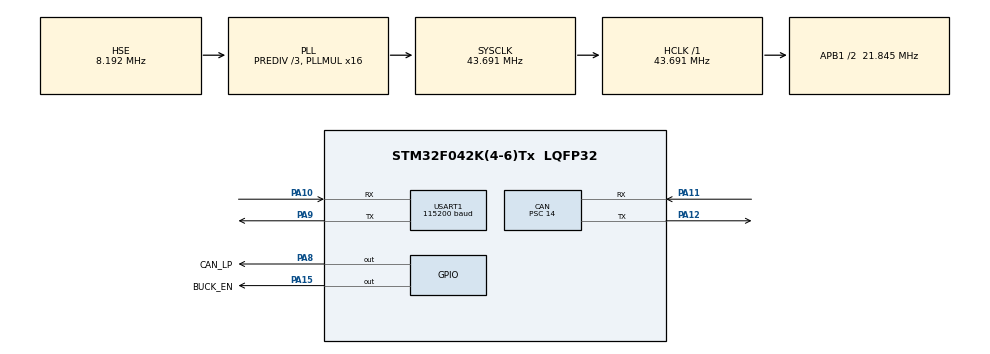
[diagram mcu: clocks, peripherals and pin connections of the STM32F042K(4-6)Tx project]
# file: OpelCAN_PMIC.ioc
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CAN.ABOM=ENABLE
CAN.AWUM=ENABLE
CAN.BS1=CAN_BS1_13TQ
CAN.BS2=CAN_BS2_2TQ
CAN.CalculateBaudRate=97523
CAN.CalculateTimeBit=10253
CAN.CalculateTimeQuantum=640.869140625
CAN.NART=ENABLE
CAN.Prescaler=14
CAN.SJW=CAN_SJW_1TQ
Dma.Request0=USART1_RX
Dma.Request1=USART1_TX
Dma.USART1_RX.0.Direction=DMA_PERIPH_TO_MEMORY
Dma.USART1_RX.0.Instance=DMA1_Channel3
Dma.USART1_RX.0.MemDataAlignment=DMA_MDATAALIGN_BYTE
Dma.USART1_RX.0.MemInc=DMA_MINC_ENABLE
Dma.USART1_RX.0.Mode=DMA_CIRCULAR
Dma.USART1_RX.0.PeriphDataAlignment=DMA_PDATAALIGN_BYTE
Dma.USART1_RX.0.PeriphInc=DMA_PINC_DISABLE
Dma.USART1_RX.0.Priority=DMA_PRIORITY_LOW
Dma.USART1_TX.1.Direction=DMA_MEMORY_TO_PERIPH
Dma.USART1_TX.1.Instance=DMA1_Channel2
Dma.USART1_TX.1.MemDataAlignment=DMA_MDATAALIGN_BYTE
Dma.USART1_TX.1.MemInc=DMA_MINC_ENABLE
Dma.USART1_TX.1.Mode=DMA_NORMAL
Dma.USART1_TX.1.PeriphDataAlignment=DMA_PDATAALIGN_BYTE
Dma.USART1_TX.1.PeriphInc=DMA_PINC_DISABLE
Dma.USART1_TX.1.Priority=DMA_PRIORITY_LOW
Mcu.Family=STM32F0
Mcu.Name=STM32F042K(4-6)Tx
Mcu.Package=LQFP32
NVIC.CEC_CAN_IRQn=true\:0\:0\:false\:false\:true\:false\:true\:true
NVIC.DMA1_Channel2_3_IRQn=true\:0\:0\:false\:false\:true\:false\:true\:true
NVIC.TIM2_IRQn=true\:0\:0\:false\:false\:true\:true\:true\:true
NVIC.USART1_IRQn=true\:0\:0\:false\:false\:true\:true\:true\:true
PA10.Mode=Asynchronous
PA10.Signal=USART1_RX
PA11.Mode=CAN_Activate
PA11.Signal=CAN_RX
PA12.Mode=CAN_Activate
PA12.Signal=CAN_TX
PA13.Mode=Serial_Wire
PA13.Signal=SYS_SWDIO
PA14.Mode=Serial_Wire
PA14.Signal=SYS_SWCLK
PA15.GPIO_Label=BUCK_EN
PA15.Signal=GPIO_Output
PA8.GPIO_Label=CAN_LP
PA8.PinState=GPIO_PIN_SET
PA8.Signal=GPIO_Output
PA9.Mode=Asynchronous
PA9.Signal=USART1_TX
PF0-OSC_IN.Mode=HSE-External-Oscillator
PF0-OSC_IN.Signal=RCC_OSC_IN
PF1-OSC_OUT.Mode=HSE-External-Oscillator
PF1-OSC_OUT.Signal=RCC_OSC_OUT
ProjectManager.HeapSize=0x200
ProjectManager.StackSize=0x400
ProjectManager.TargetToolchain=STM32CubeIDE
RCC.AHBFreq_Value=43690666.666666664
RCC.APB1CLKDivider=RCC_HCLK_DIV2
RCC.APB1Freq_Value=21845333.333333332
RCC.APB1TimFreq_Value=43690666.666666664
RCC.HCLKFreq_Value=43690666.666666664
RCC.HSE_VALUE=8192000
RCC.PLLDivider=RCC_PREDIV_DIV3
RCC.PLLMUL=RCC_PLL_MUL16
RCC.PLLSourceVirtual=RCC_PLLSOURCE_HSE
RCC.SYSCLKFreq_VALUE=43690666.666666664
RCC.SYSCLKSource=RCC_SYSCLKSOURCE_PLLCLK
RCC.Usart1ClockSelection=RCC_USART1CLKSOURCE_HSI
TIM2.AutoReloadPreload=TIM_AUTORELOAD_PRELOAD_ENABLE
TIM2.Period=25
TIM2.Prescaler=4266
USART1.BaudRate=115200
USART1.VirtualMode-Asynchronous=VM_ASYNC
VP_TIM2_VS_ClockSourceINT.Mode=Internal
board=custom

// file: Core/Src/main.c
/* USER CODE BEGIN Header */
/**
 ******************************************************************************
 * @file           : main.c
 * @brief          : Main program body
 ******************************************************************************
 * @attention
 *
 * Copyright (c) 2023 STMicroelectronics.
 * All rights reserved.
 *
 * This software is licensed under terms that can be found in the LICENSE file
 * in the root directory of this software component.
 * If no LICENSE file comes with this software, it is provided AS-IS.
 *
 ******************************************************************************
 */
/* USER CODE END Header */
#include "main.h"

/* USER CODE BEGIN Includes */
#include <stdbool.h>
#include "uart.h"
#include "esp.h"
#include "can_tx.h"
#include "can_rx.h"
/* USER CODE END Includes */

/* USER CODE BEGIN PD */
uint8_t _power_up_message[8] =
		{ 0x61, 0x00, 0x42, 0x12, 0x21, 0x00, 0x40, 0x00 };
uint8_t _power_down_message[8] = { 0x11, 0x00, 0x00, 0x18, 0x00, 0x00, 0x00,
		0x00 };
/* USER CODE END PD */

CAN_HandleTypeDef hcan;

TIM_HandleTypeDef htim2;

UART_HandleTypeDef huart1;
DMA_HandleTypeDef hdma_usart1_rx;
DMA_HandleTypeDef hdma_usart1_tx;

/* USER CODE BEGIN PV */
bool sleeping = false;
/* USER CODE END PV */

void SystemClock_Config(void);
static void MX_GPIO_Init(void);
static void MX_DMA_Init(void);
static void MX_CAN_Init(void);
static void MX_USART1_UART_Init(void);
static void MX_TIM2_Init(void);

int main(void) {

	/* MCU Configuration--------------------------------------------------------*/

	/* Reset of all peripherals, Initializes the Flash interface and the Systick. */
	HAL_Init();

	/* Configure the system clock */
	SystemClock_Config();

	/* Initialize all configured peripherals */
	MX_GPIO_Init();
	MX_DMA_Init();
	MX_CAN_Init();
	MX_USART1_UART_Init();
	MX_TIM2_Init();
	/* USER CODE BEGIN 2 */

	uart_start(&huart1);
	/* USER CODE END 2 */

	/* Infinite loop */
	/* USER CODE BEGIN WHILE */
	while (1) {
		uart_loop();
		esp_receive_uart();
		esp_run_can_events();
		can_tx_loop();
		/* USER CODE END WHILE */

	}
}

void SystemClock_Config(void) {
	RCC_OscInitTypeDef RCC_OscInitStruct = { 0 };
	RCC_ClkInitTypeDef RCC_ClkInitStruct = { 0 };
	RCC_PeriphCLKInitTypeDef PeriphClkInit = { 0 };

	/** Initializes the RCC Oscillators according to the specified parameters
	 * in the RCC_OscInitTypeDef structure.
	 */
	RCC_OscInitStruct.OscillatorType = RCC_OSCILLATORTYPE_HSI
			| RCC_OSCILLATORTYPE_HSE;
	RCC_OscInitStruct.HSEState = RCC_HSE_ON;
	RCC_OscInitStruct.HSIState = RCC_HSI_ON;
	RCC_OscInitStruct.HSICalibrationValue = RCC_HSICALIBRATION_DEFAULT;
	RCC_OscInitStruct.PLL.PLLState = RCC_PLL_ON;
	RCC_OscInitStruct.PLL.PLLSource = RCC_PLLSOURCE_HSE;
	RCC_OscInitStruct.PLL.PLLMUL = RCC_PLL_MUL16;
	RCC_OscInitStruct.PLL.PREDIV = RCC_PREDIV_DIV3;
	if (HAL_RCC_OscConfig(&RCC_OscInitStruct) != HAL_OK) {
		Error_Handler();
	}

	/** Initializes the CPU, AHB and APB buses clocks
	 */
	RCC_ClkInitStruct.ClockType = RCC_CLOCKTYPE_HCLK | RCC_CLOCKTYPE_SYSCLK
			| RCC_CLOCKTYPE_PCLK1;
	RCC_ClkInitStruct.SYSCLKSource = RCC_SYSCLKSOURCE_PLLCLK;
	RCC_ClkInitStruct.AHBCLKDivider = RCC_SYSCLK_DIV1;
	RCC_ClkInitStruct.APB1CLKDivider = RCC_HCLK_DIV2;

	if (HAL_RCC_ClockConfig(&RCC_ClkInitStruct, FLASH_LATENCY_1) != HAL_OK) {
		Error_Handler();
	}
	PeriphClkInit.PeriphClockSelection = RCC_PERIPHCLK_USART1;
	PeriphClkInit.Usart1ClockSelection = RCC_USART1CLKSOURCE_HSI;
	if (HAL_RCCEx_PeriphCLKConfig(&PeriphClkInit) != HAL_OK) {
		Error_Handler();
	}
}

static void MX_CAN_Init(void) {

	/* USER CODE BEGIN CAN_Init 0 */
	CAN_FilterTypeDef sFilterConfig;
	/* USER CODE END CAN_Init 0 */

	hcan.Instance = CAN;
	hcan.Init.Prescaler = 14;
	hcan.Init.Mode = CAN_MODE_NORMAL;
	hcan.Init.SyncJumpWidth = CAN_SJW_1TQ;
	hcan.Init.TimeSeg1 = CAN_BS1_13TQ;
	hcan.Init.TimeSeg2 = CAN_BS2_2TQ;
	hcan.Init.TimeTriggeredMode = DISABLE;
	hcan.Init.AutoBusOff = ENABLE;
	hcan.Init.AutoWakeUp = ENABLE;
	hcan.Init.AutoRetransmission = ENABLE;
	hcan.Init.ReceiveFifoLocked = DISABLE;
	hcan.Init.TransmitFifoPriority = DISABLE;
	if (HAL_CAN_Init(&hcan) != HAL_OK) {
		Error_Handler();
	}
	/* USER CODE BEGIN CAN_Init 2 */

	can_tx_set_hcan(&hcan);

	sFilterConfig.FilterBank = 0;
	sFilterConfig.FilterMode = CAN_FILTERMODE_IDMASK;
	sFilterConfig.FilterScale = CAN_FILTERSCALE_32BIT;
	sFilterConfig.FilterIdHigh = 0x0000;
	sFilterConfig.FilterIdLow = 0x0000;
	sFilterConfig.FilterMaskIdHigh = 0x0000;
	sFilterConfig.FilterMaskIdLow = 0x0000;
	sFilterConfig.FilterFIFOAssignment = CAN_RX_FIFO0;
	sFilterConfig.FilterActivation = ENABLE;
	sFilterConfig.SlaveStartFilterBank = 14;

	if (HAL_CAN_ConfigFilter(&hcan, &sFilterConfig) != HAL_OK) {
		/* Filter configuration Error */
		Error_Handler();
	}

	if (HAL_CAN_Start(&hcan) != HAL_OK) {
		/* Start Error */
		Error_Handler();
	}

	/*##-4- Activate CAN RX notification #######################################*/
	if (HAL_CAN_ActivateNotification(&hcan,
	CAN_IT_RX_FIFO0_MSG_PENDING | CAN_IT_TX_MAILBOX_EMPTY) != HAL_OK) {
		/* Notification Error */
		Error_Handler();
	}
	/* USER CODE END CAN_Init 2 */

}

static void MX_TIM2_Init(void) {

	TIM_ClockConfigTypeDef sClockSourceConfig = { 0 };
	TIM_MasterConfigTypeDef sMasterConfig = { 0 };

	htim2.Instance = TIM2;
	htim2.Init.Prescaler = 4266;
	htim2.Init.CounterMode = TIM_COUNTERMODE_UP;
	htim2.Init.Period = 25;
	htim2.Init.ClockDivision = TIM_CLOCKDIVISION_DIV1;
	htim2.Init.AutoReloadPreload = TIM_AUTORELOAD_PRELOAD_ENABLE;
	if (HAL_TIM_Base_Init(&htim2) != HAL_OK) {
		Error_Handler();
	}
	sClockSourceConfig.ClockSource = TIM_CLOCKSOURCE_INTERNAL;
	if (HAL_TIM_ConfigClockSource(&htim2, &sClockSourceConfig) != HAL_OK) {
		Error_Handler();
	}
	sMasterConfig.MasterOutputTrigger = TIM_TRGO_RESET;
	sMasterConfig.MasterSlaveMode = TIM_MASTERSLAVEMODE_DISABLE;
	if (HAL_TIMEx_MasterConfigSynchronization(&htim2, &sMasterConfig)
			!= HAL_OK) {
		Error_Handler();
	}
	/* USER CODE BEGIN TIM2_Init 2 */
	HAL_TIM_Base_Start_IT(&htim2);
	/* USER CODE END TIM2_Init 2 */

}

static void MX_USART1_UART_Init(void) {

	huart1.Instance = USART1;
	huart1.Init.BaudRate = 115200;
	huart1.Init.WordLength = UART_WORDLENGTH_8B;
	huart1.Init.StopBits = UART_STOPBITS_1;
	huart1.Init.Parity = UART_PARITY_NONE;
	huart1.Init.Mode = UART_MODE_TX_RX;
	huart1.Init.HwFlowCtl = UART_HWCONTROL_NONE;
	huart1.Init.OverSampling = UART_OVERSAMPLING_16;
	huart1.Init.OneBitSampling = UART_ONE_BIT_SAMPLE_DISABLE;
	huart1.AdvancedInit.AdvFeatureInit = UART_ADVFEATURE_NO_INIT;
	/* USER CODE BEGIN USART1_Init 2 */
	if (HAL_UART_Init(&huart1) != HAL_OK) {
			Error_Handler();
		}
	/* USER CODE END USART1_Init 2 */

}

static void MX_DMA_Init(void) {

	/* DMA controller clock enable */
	__HAL_RCC_DMA1_CLK_ENABLE();

	/* DMA interrupt init */
	/* DMA1_Channel2_3_IRQn interrupt configuration */
	HAL_NVIC_SetPriority(DMA1_Channel2_3_IRQn, 0, 0);
	HAL_NVIC_EnableIRQ(DMA1_Channel2_3_IRQn);

}

static void MX_GPIO_Init(void) {
	GPIO_InitTypeDef GPIO_InitStruct = { 0 };

	/* GPIO Ports Clock Enable */
	__HAL_RCC_GPIOF_CLK_ENABLE();
	__HAL_RCC_GPIOA_CLK_ENABLE();

	/*Configure GPIO pin Output Level */
	HAL_GPIO_WritePin(CAN_LP_GPIO_Port, CAN_LP_Pin, GPIO_PIN_SET);

	/*Configure GPIO pin Output Level */
	HAL_GPIO_WritePin(BUCK_EN_GPIO_Port, BUCK_EN_Pin, GPIO_PIN_RESET);

	/*Configure GPIO pins : CAN_LP_Pin BUCK_EN_Pin */
	GPIO_InitStruct.Pin = CAN_LP_Pin | BUCK_EN_Pin;
	GPIO_InitStruct.Mode = GPIO_MODE_OUTPUT_PP;
	GPIO_InitStruct.Pull = GPIO_NOPULL;
	GPIO_InitStruct.Speed = GPIO_SPEED_FREQ_LOW;
	HAL_GPIO_Init(GPIOA, &GPIO_InitStruct);

}

/* USER CODE BEGIN 4 */

void HAL_TIM_PeriodElapsedCallback(TIM_HandleTypeDef *htim) {
	if (htim->Instance == TIM2) //check if the interrupt comes from TIM3
	{
		can_tx_send_next();
		esp_tick();
	}
}

/* USER CODE END 4 */

void Error_Handler(void) {
	__disable_irq();
	while (1) {
	}
}
